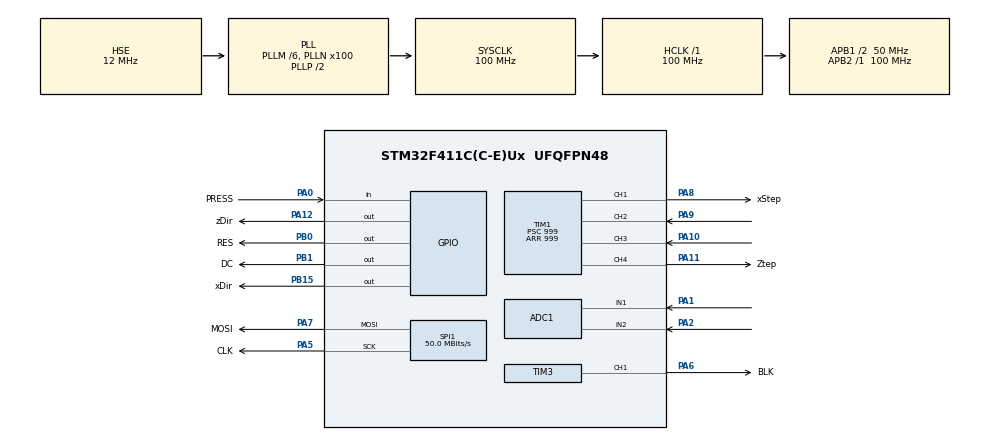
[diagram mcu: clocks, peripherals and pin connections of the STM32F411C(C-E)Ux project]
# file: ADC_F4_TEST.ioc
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ADC1.Channel-0\#ChannelRegularConversion=ADC_CHANNEL_1
ADC1.Channel-1\#ChannelRegularConversion=ADC_CHANNEL_2
ADC1.ContinuousConvMode=ENABLE
ADC1.DMAContinuousRequests=ENABLE
ADC1.NbrOfConversion=2
ADC1.NbrOfConversionFlag=1
ADC1.Rank-0\#ChannelRegularConversion=1
ADC1.Rank-1\#ChannelRegularConversion=2
ADC1.SamplingTime-0\#ChannelRegularConversion=ADC_SAMPLETIME_3CYCLES
ADC1.SamplingTime-1\#ChannelRegularConversion=ADC_SAMPLETIME_3CYCLES
ADC1.ScanConvMode=ENABLE
ADC1.master=1
Dma.ADC1.0.Direction=DMA_PERIPH_TO_MEMORY
Dma.ADC1.0.FIFOMode=DMA_FIFOMODE_DISABLE
Dma.ADC1.0.Instance=DMA2_Stream0
Dma.ADC1.0.MemDataAlignment=DMA_MDATAALIGN_WORD
Dma.ADC1.0.MemInc=DMA_MINC_ENABLE
Dma.ADC1.0.Mode=DMA_CIRCULAR
Dma.ADC1.0.PeriphDataAlignment=DMA_PDATAALIGN_WORD
Dma.ADC1.0.PeriphInc=DMA_PINC_DISABLE
Dma.ADC1.0.Priority=DMA_PRIORITY_LOW
Dma.Request0=ADC1
Dma.Request1=SPI1_TX
Dma.Request2=TIM1_CH1/CH2/CH3
Dma.Request3=TIM1_CH4/TRIG/COM
Dma.SPI1_TX.1.Direction=DMA_MEMORY_TO_PERIPH
Dma.SPI1_TX.1.FIFOMode=DMA_FIFOMODE_DISABLE
Dma.SPI1_TX.1.Instance=DMA2_Stream2
Dma.SPI1_TX.1.MemDataAlignment=DMA_MDATAALIGN_BYTE
Dma.SPI1_TX.1.MemInc=DMA_MINC_ENABLE
Dma.SPI1_TX.1.Mode=DMA_NORMAL
Dma.SPI1_TX.1.PeriphDataAlignment=DMA_PDATAALIGN_BYTE
Dma.SPI1_TX.1.PeriphInc=DMA_PINC_DISABLE
Dma.SPI1_TX.1.Priority=DMA_PRIORITY_LOW
Dma.TIM1_CH1/CH2/CH3.2.Direction=DMA_PERIPH_TO_MEMORY
Dma.TIM1_CH1/CH2/CH3.2.FIFOMode=DMA_FIFOMODE_DISABLE
Dma.TIM1_CH1/CH2/CH3.2.Instance=DMA2_Stream6
Dma.TIM1_CH1/CH2/CH3.2.MemDataAlignment=DMA_MDATAALIGN_HALFWORD
Dma.TIM1_CH1/CH2/CH3.2.MemInc=DMA_MINC_ENABLE
Dma.TIM1_CH1/CH2/CH3.2.Mode=DMA_NORMAL
Dma.TIM1_CH1/CH2/CH3.2.PeriphDataAlignment=DMA_PDATAALIGN_HALFWORD
Dma.TIM1_CH1/CH2/CH3.2.PeriphInc=DMA_PINC_DISABLE
Dma.TIM1_CH1/CH2/CH3.2.Priority=DMA_PRIORITY_LOW
Dma.TIM1_CH4/TRIG/COM.3.Direction=DMA_PERIPH_TO_MEMORY
Dma.TIM1_CH4/TRIG/COM.3.FIFOMode=DMA_FIFOMODE_DISABLE
Dma.TIM1_CH4/TRIG/COM.3.Instance=DMA2_Stream4
Dma.TIM1_CH4/TRIG/COM.3.MemDataAlignment=DMA_MDATAALIGN_WORD
Dma.TIM1_CH4/TRIG/COM.3.MemInc=DMA_MINC_DISABLE
Dma.TIM1_CH4/TRIG/COM.3.Mode=DMA_NORMAL
Dma.TIM1_CH4/TRIG/COM.3.PeriphDataAlignment=DMA_PDATAALIGN_WORD
Dma.TIM1_CH4/TRIG/COM.3.PeriphInc=DMA_PINC_DISABLE
Dma.TIM1_CH4/TRIG/COM.3.Priority=DMA_PRIORITY_LOW
Mcu.Family=STM32F4
Mcu.Name=STM32F411C(C-E)Ux
Mcu.Package=UFQFPN48
NVIC.DMA2_Stream0_IRQn=true\:4\:0\:true\:false\:true\:false\:true
NVIC.DMA2_Stream2_IRQn=true\:2\:0\:true\:false\:true\:false\:true
NVIC.DMA2_Stream4_IRQn=true\:0\:0\:false\:false\:true\:false\:true
NVIC.DMA2_Stream6_IRQn=true\:0\:0\:false\:false\:true\:false\:true
NVIC.PriorityGroup=NVIC_PRIORITYGROUP_4
NVIC.TIM1_CC_IRQn=true\:5\:0\:true\:false\:true\:true\:true
NVIC.TIM3_IRQn=true\:3\:0\:true\:false\:true\:true\:true
PA0-WKUP.GPIO_Label=PRESS
PA0-WKUP.GPIO_PuPd=GPIO_PULLUP
PA0-WKUP.Signal=GPIO_Input
PA1.Signal=ADCx_IN1
PA10.GPIO_PuPd=GPIO_PULLDOWN
PA10.Signal=S_TIM1_CH3
PA11.GPIO_Label=Ztep
PA11.GPIO_Speed=GPIO_SPEED_FREQ_LOW
PA11.Signal=S_TIM1_CH4
PA12.GPIO_Label=zDir
PA12.GPIO_PuPd=GPIO_PULLUP
PA12.GPIO_Speed=GPIO_SPEED_FREQ_MEDIUM
PA12.PinState=GPIO_PIN_SET
PA12.Signal=GPIO_Output
PA13.Mode=Serial_Wire
PA13.Signal=SYS_JTMS-SWDIO
PA14.Mode=Serial_Wire
PA14.Signal=SYS_JTCK-SWCLK
PA2.Signal=ADCx_IN2
PA5.GPIO_Label=CLK
PA5.Mode=TX_Only_Simplex_Unidirect_Master
PA5.Signal=SPI1_SCK
PA6.GPIO_Label=BLK
PA6.Signal=S_TIM3_CH1
PA7.GPIO_Label=MOSI
PA7.Mode=TX_Only_Simplex_Unidirect_Master
PA7.Signal=SPI1_MOSI
PA8.GPIO_Label=xStep
PA8.GPIO_Speed=GPIO_SPEED_FREQ_LOW
PA8.Signal=S_TIM1_CH1
PA9.GPIO_PuPd=GPIO_PULLDOWN
PA9.Signal=S_TIM1_CH2
PB0.GPIO_Label=RES
PB0.GPIO_PuPd=GPIO_PULLUP
PB0.GPIO_Speed=GPIO_SPEED_FREQ_MEDIUM
PB0.PinState=GPIO_PIN_SET
PB0.Signal=GPIO_Output
PB1.GPIO_Label=DC
PB1.GPIO_PuPd=GPIO_PULLUP
PB1.GPIO_Speed=GPIO_SPEED_FREQ_HIGH
PB1.PinState=GPIO_PIN_SET
PB1.Signal=GPIO_Output
PB15.GPIO_Label=xDir
PB15.GPIO_PuPd=GPIO_PULLUP
PB15.GPIO_Speed=GPIO_SPEED_FREQ_MEDIUM
PB15.PinState=GPIO_PIN_SET
PB15.Signal=GPIO_Output
PH0\ -\ OSC_IN.Mode=HSE-External-Oscillator
PH0\ -\ OSC_IN.Signal=RCC_OSC_IN
PH1\ -\ OSC_OUT.Mode=HSE-External-Oscillator
PH1\ -\ OSC_OUT.Signal=RCC_OSC_OUT
ProjectManager.HeapSize=0x200
ProjectManager.StackSize=0x400
ProjectManager.TargetToolchain=MDK-ARM V5.27
RCC.48MHZClocksFreq_Value=50000000
RCC.AHBFreq_Value=100000000
RCC.APB1CLKDivider=RCC_HCLK_DIV2
RCC.APB1Freq_Value=50000000
RCC.APB1TimFreq_Value=100000000
RCC.APB2Freq_Value=100000000
RCC.APB2TimFreq_Value=100000000
RCC.CortexFreq_Value=100000000
RCC.HCLKFreq_Value=100000000
RCC.HSE_VALUE=12000000
RCC.HSI_VALUE=16000000
RCC.LSE_VALUE=32768
RCC.PLLM=6
RCC.PLLN=100
RCC.PLLSourceVirtual=RCC_PLLSOURCE_HSE
RCC.SYSCLKFreq_VALUE=100000000
RCC.SYSCLKSource=RCC_SYSCLKSOURCE_PLLCLK
RCC.VCOOutputFreq_Value=200000000
SH.ADCx_IN1.0=ADC1_IN1,IN1
SH.ADCx_IN2.0=ADC1_IN2,IN2
SH.S_TIM1_CH1.0=TIM1_CH1,PWM Generation1 CH1
SH.S_TIM1_CH2.0=TIM1_CH2,Input_Capture2_from_TI2
SH.S_TIM1_CH3.0=TIM1_CH3,Input_Capture3_from_TI3
SH.S_TIM1_CH4.0=TIM1_CH4,PWM Generation4 CH4
SH.S_TIM3_CH1.0=TIM3_CH1,PWM Generation1 CH1
SPI1.BaudRatePrescaler=SPI_BAUDRATEPRESCALER_2
SPI1.CLKPhase=SPI_PHASE_2EDGE
SPI1.CLKPolarity=SPI_POLARITY_HIGH
SPI1.CalculateBaudRate=50.0 MBits/s
SPI1.Direction=SPI_DIRECTION_2LINES
SPI1.Mode=SPI_MODE_MASTER
SPI1.VirtualType=VM_MASTER
TIM1.AutoReloadPreload=TIM_AUTORELOAD_PRELOAD_ENABLE
TIM1.AutomaticOutput=TIM_AUTOMATICOUTPUT_DISABLE
TIM1.BreakState=TIM_BREAK_ENABLE
TIM1.Channel-Input_Capture2_from_TI2=TIM_CHANNEL_2
TIM1.Channel-Input_Capture3_from_TI3=TIM_CHANNEL_3
TIM1.Channel-PWM\ Generation1\ CH1=TIM_CHANNEL_1
TIM1.Channel-PWM\ Generation4\ CH4=TIM_CHANNEL_4
TIM1.ICFilter_CH2=1
TIM1.ICFilter_CH3=1
TIM1.OC1Preload_PWM=DISABLE
TIM1.OC4Preload_PWM=DISABLE
TIM1.OCMode_PWM-PWM\ Generation1\ CH1=TIM_OCMODE_PWM1
TIM1.OCMode_PWM-PWM\ Generation4\ CH4=TIM_OCMODE_PWM1
TIM1.OffStateIDLEMode=TIM_OSSI_DISABLE
TIM1.OffStateRunMode=TIM_OSSR_DISABLE
TIM1.Period=999
TIM1.Prescaler=999
TIM1.Pulse-PWM\ Generation1\ CH1=499
TIM1.Pulse-PWM\ Generation4\ CH4=499
TIM3.AutoReloadPreload=TIM_AUTORELOAD_PRELOAD_ENABLE
TIM3.Channel-PWM\ Generation1\ CH1=TIM_CHANNEL_1
TIM3.Period=999
TIM3.Prescaler=99
TIM3.Pulse-PWM\ Generation1\ CH1=700
VP_TIM1_VS_ClockSourceINT.Mode=Internal
VP_TIM3_VS_ClockSourceINT.Mode=Internal
board=custom

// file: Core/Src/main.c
/* USER CODE BEGIN Header */
/**
 ******************************************************************************
 * @file           : main.c
 * @brief          : Main program body
 ******************************************************************************
 * @attention
 *
 * <h2><center>&copy; Copyright (c) 2022 STMicroelectronics.
 * All rights reserved.</center></h2>
 *
 * This software component is licensed by ST under BSD 3-Clause license,
 * the "License"; You may not use this file except in compliance with the
 * License. You may obtain a copy of the License at:
 *                        opensource.org/licenses/BSD-3-Clause
 *
 ******************************************************************************
 */
 /* USER CODE END Header */
 /* Includes ------------------------------------------------------------------*/
#include "main.h"
#include "adc.h"
#include "dma.h"
#include "spi.h"
#include "tim.h"
#include "gpio.h"

/* USER CODE BEGIN Includes */

#include "stm32f4xx_hal_tim.h"
#include "config.h"
#include "lcd_init.h"
#include "lcd.h"
#include "pic.h"
#include "stdio.h"
#include "rocker.h"
#include "lvgl.h"
#include "lv_port_disp.h"
#include "lv_port_indev.h"
#include "testApp.h"
#include "startUp.h"
#include "Motor.h"
/* USER CODE END Includes */

/* USER CODE BEGIN PV */
u32 ADC_Value[50];
u16 pscX;
u16 pscZ;
u16 tl;
u16 zCount = 0;
u16 xCount = 0;

//u32 pwm[10] = { 0 };
bool flagX = 1;
bool flagZ = 1;
//u8 pwmCount = 0;
//u8 count = 0;
/* USER CODE END PV */

void SystemClock_Config(void);

int main(void) {

  /* MCU Configuration--------------------------------------------------------*/

  /* Reset of all peripherals, Initializes the Flash interface and the Systick. */
  HAL_Init();

  /* Configure the system clock */
  SystemClock_Config();

  /* Initialize all configured peripherals */
  MX_GPIO_Init();
  MX_DMA_Init();
  MX_ADC1_Init();
  MX_SPI1_Init();
  MX_TIM3_Init();
  MX_TIM1_Init();
  /* USER CODE BEGIN 2 */

#if LVGL_RUN
  lv_init();
  lv_port_disp_init();  // 显示器初始化
  lv_port_indev_init(); //
#else
  LCD_Init();
  LCD_Fill(0, 0, 240, 240, WHITE);
  HAL_Delay(1000);
#endif
  tl = 0;
  pscX = 0;
  pscZ = 0;
  HAL_TIM_PWM_Start(&htim3, TIM_CHANNEL_1);
  HAL_ADC_Start_DMA(&hadc1, (uint32_t*)&ADC_Value, 50);
  // LCD_ShowPicture(0,0,240,240,gImage_we);

  // DMA_Fill(0,0,240,240,(u8*)gImage_we);
  /* USER CODE END 2 */

  /* Infinite loop */
  /* USER CODE BEGIN WHILE */

#if LVGL_RUN
  startUp();
#endif

  HAL_TIM_Base_Start_IT(&htim3);

  while (1) {
    // 只是为了看一下CPU正真的利用率
#if LVGL_RUN
    lv_task_handler();
#if 1
    //HAL_UART_Transmit(&huart1, (u8*)ADC_Value, 2, 10);

    getAd();
    if (!keyDir()) {
      HAL_TIM_PWM_Stop(&htim1, TIM_CHANNEL_1);
      HAL_TIM_PWM_Stop(&htim1, TIM_CHANNEL_4);
      HAL_TIM_IC_Stop_IT(&htim1, TIM_CHANNEL_2);
      HAL_TIM_IC_Stop_IT(&htim1, TIM_CHANNEL_3);
    }
#endif
#else

#endif

    /* USER CODE END WHILE */

  }
}

void SystemClock_Config(void) {
  RCC_OscInitTypeDef RCC_OscInitStruct = { 0 };
  RCC_ClkInitTypeDef RCC_ClkInitStruct = { 0 };

  /** Configure the main internal regulator output voltage
  */
  __HAL_RCC_PWR_CLK_ENABLE();
  __HAL_PWR_VOLTAGESCALING_CONFIG(PWR_REGULATOR_VOLTAGE_SCALE1);
  /** Initializes the RCC Oscillators according to the specified parameters
  * in the RCC_OscInitTypeDef structure.
  */
  RCC_OscInitStruct.OscillatorType = RCC_OSCILLATORTYPE_HSE;
  RCC_OscInitStruct.HSEState = RCC_HSE_ON;
  RCC_OscInitStruct.PLL.PLLState = RCC_PLL_ON;
  RCC_OscInitStruct.PLL.PLLSource = RCC_PLLSOURCE_HSE;
  RCC_OscInitStruct.PLL.PLLM = 6;
  RCC_OscInitStruct.PLL.PLLN = 100;
  RCC_OscInitStruct.PLL.PLLP = RCC_PLLP_DIV2;
  RCC_OscInitStruct.PLL.PLLQ = 4;
  if (HAL_RCC_OscConfig(&RCC_OscInitStruct) != HAL_OK) {
    Error_Handler();
  }
  /** Initializes the CPU, AHB and APB buses clocks
  */
  RCC_ClkInitStruct.ClockType = RCC_CLOCKTYPE_HCLK | RCC_CLOCKTYPE_SYSCLK
    | RCC_CLOCKTYPE_PCLK1 | RCC_CLOCKTYPE_PCLK2;
  RCC_ClkInitStruct.SYSCLKSource = RCC_SYSCLKSOURCE_PLLCLK;
  RCC_ClkInitStruct.AHBCLKDivider = RCC_SYSCLK_DIV1;
  RCC_ClkInitStruct.APB1CLKDivider = RCC_HCLK_DIV2;
  RCC_ClkInitStruct.APB2CLKDivider = RCC_HCLK_DIV1;

  if (HAL_RCC_ClockConfig(&RCC_ClkInitStruct, FLASH_LATENCY_3) != HAL_OK) {
    Error_Handler();
  }
}

/* USER CODE BEGIN 4 */

void HAL_TIM_PeriodElapsedCallback(TIM_HandleTypeDef* htim) {
  if (htim->Instance == htim3.Instance) {
#if LVGL_RUN
    lv_tick_inc(1);
#else
#if 1
    getAd();
    doSth();
#else
    controlMotor();
#endif

#endif
  }
}

#if 1

void HAL_TIM_IC_CaptureCallback(TIM_HandleTypeDef* htim) {
  if (TIM_CHANNEL_STATE_GET(&htim1, TIM_CHANNEL_1) == HAL_TIM_CHANNEL_STATE_BUSY && \
    TIM_CHANNEL_STATE_GET(&htim1, TIM_CHANNEL_4) != HAL_TIM_CHANNEL_STATE_BUSY) {
    if (flagX == 1) {
      if (xCount < XMAX - 10) {
        xCount++;
        //LCD_ShowIntNum(0, 5, xCount, 10, RED, WHITE, 16);
      }
      else HAL_TIM_PWM_Stop(&htim1, TIM_CHANNEL_1);
    }
    else {
      if (xCount > 0) {
        xCount--;
        //LCD_ShowIntNum(0, 5, xCount, 10, RED, WHITE, 16);
      }
      else HAL_TIM_PWM_Stop(&htim1, TIM_CHANNEL_1);
    }
  }

  if (TIM_CHANNEL_STATE_GET(&htim1, TIM_CHANNEL_4) == HAL_TIM_CHANNEL_STATE_BUSY && \
    TIM_CHANNEL_STATE_GET(&htim1, TIM_CHANNEL_1) != HAL_TIM_CHANNEL_STATE_BUSY) {

    if (flagZ == 1) {
      if (zCount < ZMAX - 10) {
        zCount++;
        //LCD_ShowIntNum(0, 25, zCount, 10, RED, WHITE, 16);
      }
      else HAL_TIM_PWM_Stop(&htim1, TIM_CHANNEL_4);
    }
    else {
      if (zCount > 0) {
        zCount--;
        //LCD_ShowIntNum(0, 25, zCount, 10, RED, WHITE, 16);
      }
      else HAL_TIM_PWM_Stop(&htim1, TIM_CHANNEL_4);
    }
  }

}

#endif

/* USER CODE END 4 */

void Error_Handler(void) {
  __disable_irq();
  while (1) {
  }
}

/************************ (C) COPYRIGHT STMicroelectronics *****END OF FILE****/
